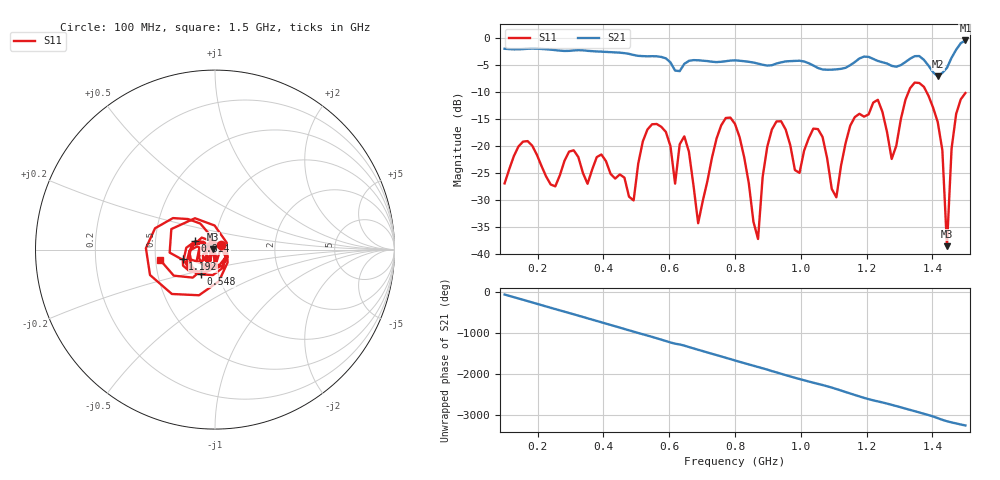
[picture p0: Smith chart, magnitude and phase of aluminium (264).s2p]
! NanoVNA-App
! Date: 2025-09-25 14:57:20
! Start: 100MHz Stop: 1,5GHz Points: 101
! S-Parameter data: F S11 S21 S12 S22
# Hz S RI R 50
!  Frequency  S11_Real  S11_Imag  S21_Real  S21_Imag  S12_Real  S12_Imag  S22_Real  S22_Imag
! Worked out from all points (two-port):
!   101 points, 100 MHz to 1.5 GHz, reference 50 ohm
!   highest |S21| = -0.38 dB at 1.5 GHz (marker M1); lowest = -7.1 dB at 1.416 GHz (marker M2)
!   |S21| within 3 dB of the highest: start of sweep to 568.7 MHz; 1.46 GHz to end of sweep (the widest 2 of 3)
!   lowest |S11| = -38.6 dB at 1.444 GHz (marker M3), VSWR 1.02, Z = 48.9 + j0.269 ohm
!   |S11| at or under -10 dB: start of sweep to 1.327 GHz; 1.382 GHz to end of sweep
!   S12 and S22 are empty: the file has one direction only
!   S11 on the Smith chart (normalised r, x): 100 MHz: 1.07, +0.06; 548 MHz: 0.82, -0.23; 814 MHz: 0.80, +0.07; 1.192 GHz: 0.69, -0.08; 1.5 GHz: 0.53, -0.07
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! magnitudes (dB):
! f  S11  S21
! 100 MHz  -27.0  -1.9
! 338 MHz  -25.0  -2.2
! 492 MHz  -30.1  -3.1
! 548 MHz  -16.0  -3.3
! 576 MHz  -16.4  -3.4
! 618 MHz  -27.0  -6.0
! 646 MHz  -18.2  -4.7
! 688 MHz  -34.4  -4.1
! 800 MHz  -15.9  -4.1
! 814 MHz  -18.4  -4.1
! 870 MHz  -37.3  -4.7
! 912 MHz  -16.9  -5.0
! 996 MHz  -25.0  -4.1
! 1.038 GHz  -16.8  -5.0
! 1.108 GHz  -29.5  -5.7
! 1.192 GHz  -14.5  -3.4
! 1.276 GHz  -22.4  -5.1
! 1.346 GHz  -8.2  -3.3
! 1.416 GHz  -15.6  -7.1
! 1.444 GHz  -38.6  -5.5
! 1.458 GHz  -20.5  -3.6
! 1.5 GHz  -10.2  -0.4
